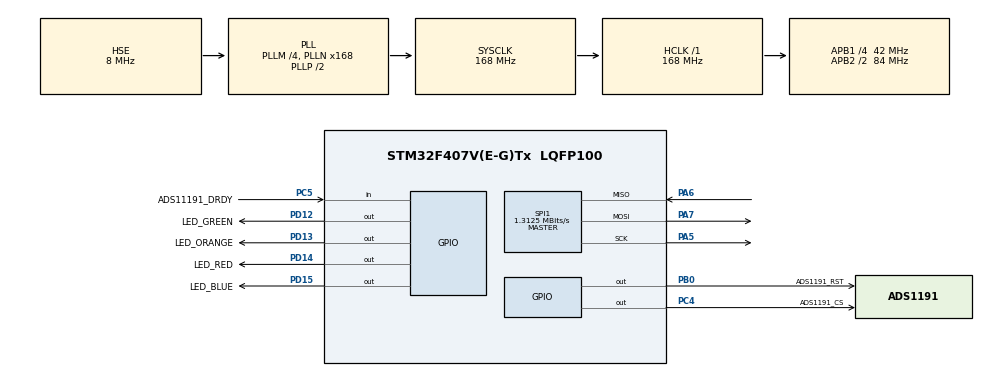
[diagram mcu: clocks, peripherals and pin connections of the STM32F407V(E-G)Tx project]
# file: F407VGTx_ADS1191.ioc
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Mcu.Family=STM32F4
Mcu.Name=STM32F407V(E-G)Tx
Mcu.Package=LQFP100
NVIC.PriorityGroup=NVIC_PRIORITYGROUP_4
PA13.Mode=Serial_Wire
PA13.Signal=SYS_JTMS-SWDIO
PA14.Mode=Serial_Wire
PA14.Signal=SYS_JTCK-SWCLK
PA5.Mode=Full_Duplex_Master
PA5.Signal=SPI1_SCK
PA6.Mode=Full_Duplex_Master
PA6.Signal=SPI1_MISO
PA7.Mode=Full_Duplex_Master
PA7.Signal=SPI1_MOSI
PB0.GPIO_Label=ADS1191_RST
PB0.Signal=GPIO_Output
PC4.GPIO_Label=ADS1191_CS
PC4.Signal=GPIO_Output
PC5.GPIO_Label=ADS11191_DRDY
PC5.Signal=GPIO_Input
PD12.GPIO_Label=LED_GREEN
PD12.Signal=GPIO_Output
PD13.GPIO_Label=LED_ORANGE
PD13.Signal=GPIO_Output
PD14.GPIO_Label=LED_RED
PD14.Signal=GPIO_Output
PD15.GPIO_Label=LED_BLUE
PD15.Signal=GPIO_Output
PH0-OSC_IN.Mode=HSE-External-Oscillator
PH0-OSC_IN.Signal=RCC_OSC_IN
PH1-OSC_OUT.Mode=HSE-External-Oscillator
PH1-OSC_OUT.Signal=RCC_OSC_OUT
ProjectManager.HeapSize=0x200
ProjectManager.StackSize=0x400
ProjectManager.TargetToolchain=STM32CubeIDE
RCC.48MHZClocksFreq_Value=84000000
RCC.AHBFreq_Value=168000000
RCC.APB1CLKDivider=RCC_HCLK_DIV4
RCC.APB1Freq_Value=42000000
RCC.APB1TimFreq_Value=84000000
RCC.APB2CLKDivider=RCC_HCLK_DIV2
RCC.APB2Freq_Value=84000000
RCC.APB2TimFreq_Value=168000000
RCC.CortexFreq_Value=168000000
RCC.HCLKFreq_Value=168000000
RCC.HSE_VALUE=8000000
RCC.HSI_VALUE=16000000
RCC.LSE_VALUE=32768
RCC.PLLM=4
RCC.PLLN=168
RCC.PLLSourceVirtual=RCC_PLLSOURCE_HSE
RCC.SYSCLKFreq_VALUE=168000000
RCC.SYSCLKSource=RCC_SYSCLKSOURCE_PLLCLK
RCC.VCOOutputFreq_Value=336000000
SPI1.BaudRatePrescaler=SPI_BAUDRATEPRESCALER_64
SPI1.CalculateBaudRate=1.3125 MBits/s
SPI1.Direction=SPI_DIRECTION_2LINES
SPI1.Mode=SPI_MODE_MASTER
SPI1.TIMode=SPI_TIMODE_DISABLE
SPI1.VirtualType=VM_MASTER
board=custom

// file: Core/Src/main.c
/* USER CODE BEGIN Header */
/**
  ******************************************************************************
  * @file           : main.c
  * @brief          : Main program body
  ******************************************************************************
  * @attention
  *
  * Copyright (c) 2024 STMicroelectronics.
  * All rights reserved.
  *
  * This software is licensed under terms that can be found in the LICENSE file
  * in the root directory of this software component.
  * If no LICENSE file comes with this software, it is provided AS-IS.
  *
  ******************************************************************************
  */
/* USER CODE END Header */
#include "main.h"

/* USER CODE BEGIN Includes */
#include "ads1191.h"
/* USER CODE END Includes */

SPI_HandleTypeDef hspi1;

void SystemClock_Config(void);
static void MX_GPIO_Init(void);
static void MX_SPI1_Init(void);

/* USER CODE BEGIN 0 */
ADS1191_HandleTypeDef ads;

void ADS1191_Example(void)
{
	ads.gpio.cs_pin = LED_BLUE_Pin;
	ads.gpio.cs_port = LED_BLUE_GPIO_Port;
	ads.gpio.rst_mechanims = INTERNAL;
	ads.gpio.clk = INTERNAL;
	ads.spi = &hspi1;
	ADS1191_Ctor(&ads);
	ads.init();
	ads.set_basic_data_capture();
}
/* USER CODE END 0 */

int main(void)
{

  /* MCU Configuration--------------------------------------------------------*/

  /* Reset of all peripherals, Initializes the Flash interface and the Systick. */
  HAL_Init();

  /* Configure the system clock */
  SystemClock_Config();

  /* Initialize all configured peripherals */
  MX_GPIO_Init();
  MX_SPI1_Init();
  /* USER CODE BEGIN 2 */
  	ADS1191_Example();
	ads.set_SDataC();
	ads.ReadData();
	uint16_t channel_data = ads.get_channel_data();
	UNUSED(channel_data);
	uint32_t status_reg_data = ads.get_status_reg();
	UNUSED(status_reg_data);
	ads.set_test_signals();
	ads.set_SDataC();
  /* USER CODE END 2 */

  /* Infinite loop */
  /* USER CODE BEGIN WHILE */
  while (1)
  {
		ads.ReadData();

		channel_data = ads.get_channel_data();
		status_reg_data = ads.get_status_reg();

    /* USER CODE END WHILE */

  }
}

void SystemClock_Config(void)
{
  RCC_OscInitTypeDef RCC_OscInitStruct = {0};
  RCC_ClkInitTypeDef RCC_ClkInitStruct = {0};

  /** Configure the main internal regulator output voltage
  */
  __HAL_RCC_PWR_CLK_ENABLE();
  __HAL_PWR_VOLTAGESCALING_CONFIG(PWR_REGULATOR_VOLTAGE_SCALE1);

  /** Initializes the RCC Oscillators according to the specified parameters
  * in the RCC_OscInitTypeDef structure.
  */
  RCC_OscInitStruct.OscillatorType = RCC_OSCILLATORTYPE_HSE;
  RCC_OscInitStruct.HSEState = RCC_HSE_ON;
  RCC_OscInitStruct.PLL.PLLState = RCC_PLL_ON;
  RCC_OscInitStruct.PLL.PLLSource = RCC_PLLSOURCE_HSE;
  RCC_OscInitStruct.PLL.PLLM = 4;
  RCC_OscInitStruct.PLL.PLLN = 168;
  RCC_OscInitStruct.PLL.PLLP = RCC_PLLP_DIV2;
  RCC_OscInitStruct.PLL.PLLQ = 4;
  if (HAL_RCC_OscConfig(&RCC_OscInitStruct) != HAL_OK)
  {
    Error_Handler();
  }

  /** Initializes the CPU, AHB and APB buses clocks
  */
  RCC_ClkInitStruct.ClockType = RCC_CLOCKTYPE_HCLK|RCC_CLOCKTYPE_SYSCLK
                              |RCC_CLOCKTYPE_PCLK1|RCC_CLOCKTYPE_PCLK2;
  RCC_ClkInitStruct.SYSCLKSource = RCC_SYSCLKSOURCE_PLLCLK;
  RCC_ClkInitStruct.AHBCLKDivider = RCC_SYSCLK_DIV1;
  RCC_ClkInitStruct.APB1CLKDivider = RCC_HCLK_DIV4;
  RCC_ClkInitStruct.APB2CLKDivider = RCC_HCLK_DIV2;

  if (HAL_RCC_ClockConfig(&RCC_ClkInitStruct, FLASH_LATENCY_5) != HAL_OK)
  {
    Error_Handler();
  }
}

static void MX_SPI1_Init(void)
{

  /* SPI1 parameter configuration*/
  hspi1.Instance = SPI1;
  hspi1.Init.Mode = SPI_MODE_MASTER;
  hspi1.Init.Direction = SPI_DIRECTION_2LINES;
  hspi1.Init.DataSize = SPI_DATASIZE_8BIT;
  hspi1.Init.CLKPolarity = SPI_POLARITY_LOW;
  hspi1.Init.CLKPhase = SPI_PHASE_1EDGE;
  hspi1.Init.NSS = SPI_NSS_SOFT;
  hspi1.Init.BaudRatePrescaler = SPI_BAUDRATEPRESCALER_64;
  hspi1.Init.FirstBit = SPI_FIRSTBIT_MSB;
  hspi1.Init.TIMode = SPI_TIMODE_DISABLE;
  hspi1.Init.CRCCalculation = SPI_CRCCALCULATION_DISABLE;
  hspi1.Init.CRCPolynomial = 10;
  if (HAL_SPI_Init(&hspi1) != HAL_OK)
  {
    Error_Handler();
  }

}

static void MX_GPIO_Init(void)
{
  GPIO_InitTypeDef GPIO_InitStruct = {0};

  /* GPIO Ports Clock Enable */
  __HAL_RCC_GPIOH_CLK_ENABLE();
  __HAL_RCC_GPIOA_CLK_ENABLE();
  __HAL_RCC_GPIOC_CLK_ENABLE();
  __HAL_RCC_GPIOB_CLK_ENABLE();
  __HAL_RCC_GPIOD_CLK_ENABLE();

  /*Configure GPIO pin Output Level */
  HAL_GPIO_WritePin(ADS1191_CS_GPIO_Port, ADS1191_CS_Pin, GPIO_PIN_RESET);

  /*Configure GPIO pin Output Level */
  HAL_GPIO_WritePin(ADS1191_RST_GPIO_Port, ADS1191_RST_Pin, GPIO_PIN_RESET);

  /*Configure GPIO pin Output Level */
  HAL_GPIO_WritePin(GPIOD, LED_GREEN_Pin|LED_ORANGE_Pin|LED_RED_Pin|LED_BLUE_Pin, GPIO_PIN_RESET);

  /*Configure GPIO pin : ADS1191_CS_Pin */
  GPIO_InitStruct.Pin = ADS1191_CS_Pin;
  GPIO_InitStruct.Mode = GPIO_MODE_OUTPUT_PP;
  GPIO_InitStruct.Pull = GPIO_NOPULL;
  GPIO_InitStruct.Speed = GPIO_SPEED_FREQ_LOW;
  HAL_GPIO_Init(ADS1191_CS_GPIO_Port, &GPIO_InitStruct);

  /*Configure GPIO pin : ADS11191_DRDY_Pin */
  GPIO_InitStruct.Pin = ADS11191_DRDY_Pin;
  GPIO_InitStruct.Mode = GPIO_MODE_INPUT;
  GPIO_InitStruct.Pull = GPIO_NOPULL;
  HAL_GPIO_Init(ADS11191_DRDY_GPIO_Port, &GPIO_InitStruct);

  /*Configure GPIO pin : ADS1191_RST_Pin */
  GPIO_InitStruct.Pin = ADS1191_RST_Pin;
  GPIO_InitStruct.Mode = GPIO_MODE_OUTPUT_PP;
  GPIO_InitStruct.Pull = GPIO_NOPULL;
  GPIO_InitStruct.Speed = GPIO_SPEED_FREQ_LOW;
  HAL_GPIO_Init(ADS1191_RST_GPIO_Port, &GPIO_InitStruct);

  /*Configure GPIO pins : LED_GREEN_Pin LED_ORANGE_Pin LED_RED_Pin LED_BLUE_Pin */
  GPIO_InitStruct.Pin = LED_GREEN_Pin|LED_ORANGE_Pin|LED_RED_Pin|LED_BLUE_Pin;
  GPIO_InitStruct.Mode = GPIO_MODE_OUTPUT_PP;
  GPIO_InitStruct.Pull = GPIO_NOPULL;
  GPIO_InitStruct.Speed = GPIO_SPEED_FREQ_LOW;
  HAL_GPIO_Init(GPIOD, &GPIO_InitStruct);

}

void Error_Handler(void)
{
  __disable_irq();
  while (1)
  {
  }
}
